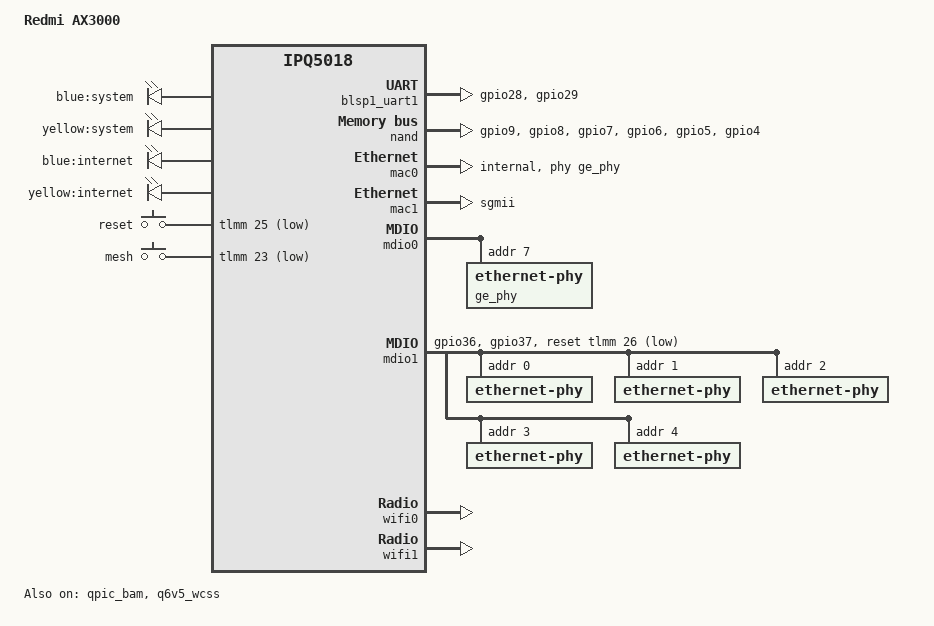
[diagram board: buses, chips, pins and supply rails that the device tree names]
// SPDX-License-Identifier: (GPL-2.0+)

/dts-v1/;

#include "ipq5018.dtsi"
#include "ipq5018-nss.dtsi"
#include "ipq5018-ess.dtsi"

#include <dt-bindings/gpio/gpio.h>
#include <dt-bindings/input/input.h>

/ {
	model = "Redmi AX3000";
	compatible = "redmi,ax3000", "qcom,ipq5018";

	#address-cells = <2>;
	#size-cells = <2>;
	interrupt-parent = <&intc>;

	aliases {
		serial0 = &blsp1_uart1;

		ethernet0 = &mac0;
		ethernet1 = &mac1;

		led-boot = &led_system_blue;
		led-failsafe = &led_system_yellow;
		led-running = &led_system_blue;
		led-upgrade = &led_system_yellow;
	};

	chosen {
		// Override the root parameter from u-boot
		// Increase coherent_pool size for WiFi
		bootargs-append = " root=/dev/ubiblock0_1 coherent_pool=2M";
		stdout-path = "serial0:115200n8";
	};

	reserved-memory {
		// Not sure why but without this, WiFi will crash
		tz_apps@4a400000 {
			no-map;
			// The size is incorrent, but it works
			reg = <0x0 0x4a400000 0x0 0x700000>;
		};

		q6_mem_regions: q6_mem_regions@4b000000 {
			no-map;
			// reg = <0x0 0x4b000000 0x0 0x3b00000>;
			reg = <0x0 0x4b000000 0x0 0x3000000>;
		};
	};

	thermal-zones {
		status = "ok";
	};
};

&tlmm {
	blsp_uart0_pins: blsp_uart0_pins {
		pins =
			"gpio28", // RX
			"gpio29"; // TX
		function = "blsp0_uart1";
		drive-strength = <8>;
		bias-disable;
	};

	qspi_nand_pins: qspi_nand_pins {
		clock {
			pins = "gpio9";
			function = "qspi_clk";
			drive-strength = <8>;
			bias-disable;
		};

		cs {
			pins = "gpio8";
			function = "qspi_cs";
			drive-strength = <8>;
			bias-disable;
		};

		data0 {
			pins = "gpio7";
			function = "qspi0";
			drive-strength = <8>;
			bias-disable;
		};

		data1 {
			pins = "gpio6";
			function = "qspi1";
			drive-strength = <8>;
			bias-disable;
		};

		data2 {
			pins = "gpio5";
			function = "qspi2";
			drive-strength = <8>;
			bias-disable;
		};

		data3 {
			pins = "gpio4";
			function = "qspi3";
			drive-strength = <8>;
			bias-disable;
		};
	};

	mdio1_pins: mdio1_pins {
		mdc {
			pins = "gpio36";
			function = "mdc";
			drive-strength = <8>;
			bias-pull-up;
		};

		mdio {
			pins = "gpio37";
			function = "mdio";
			drive-strength = <8>;
			bias-pull-up;
		};
	};

	leds_pins: leds_pins {
		led_system_blue {
			pins = "gpio19";
			function = "gpio";
			drive-strength = <8>;
			bias-pull-down;
		};

		led_system_yellow {
			pins = "gpio17";
			function = "gpio";
			drive-strength = <8>;
			bias-pull-down;
		};

		led_internet_blue {
			pins = "gpio22";
			function = "gpio";
			drive-strength = <8>;
			bias-pull-down;
		};

		led_internet_yellow {
			pins = "gpio20";
			function = "gpio";
			drive-strength = <8>;
			bias-pull-down;
		};
	};

	button_pins: button_pins {
		button_reset {
			pins = "gpio25";
			function = "gpio";
			drive-strength = <8>;
			bias-pull-up;
		};

		button_mesh {
			pins = "gpio23";
			function = "gpio";
			drive-strength = <8>;
			bias-pull-up;
		};
	};
};

&blsp1_uart1 {
	pinctrl-0 = <&blsp_uart0_pins>;
	pinctrl-names = "default";
	status = "ok";
};

&qpic_bam {
	status = "ok";
};

&nand {
	pinctrl-0 = <&qspi_nand_pins>;
	pinctrl-names = "default";
	status = "ok";
};

&soc {
	leds {
		compatible = "gpio-leds";
		pinctrl-0 = <&leds_pins>;
		pinctrl-names = "default";

		led_system_blue: led_system_blue {
			label = "blue:system";
			gpio = <&tlmm 19 GPIO_ACTIVE_HIGH>;
			default-state = "on";
		};

		led_system_yellow: led_system_yellow {
			label = "yellow:system";
			gpio = <&tlmm 17 GPIO_ACTIVE_HIGH>;
		};

		led_internet_blue: led_internet_blue {
			label = "blue:internet";
			gpio = <&tlmm 22 GPIO_ACTIVE_HIGH>;
		};

		led_internet_yellow: led_internet_yellow {
			label = "yellow:internet";
			gpio = <&tlmm 20 GPIO_ACTIVE_HIGH>;
		};
	};

	button {
		compatible = "gpio-keys";
		pinctrl-0 = <&button_pins>;
		pinctrl-names = "default";

		button_reset {
			label = "reset";
			gpios = <&tlmm 25 GPIO_ACTIVE_LOW>;
			linux,input-type = <EV_KEY>;
			linux,code = <KEY_RESTART>;
			debounce-interval = <60>;
		};

		button_mesh {
			label = "mesh";
			gpios = <&tlmm 23 GPIO_ACTIVE_LOW>;
			linux,input-type = <EV_KEY>;
			linux,code = <KEY_WPS_BUTTON>;
			debounce-interval = <60>;
		};
	};

	ess-instance {
		num_devices = <2>;

		// Dummy switch, to describe how the external ports connects to the MAC
		// For example, some chips have PSGMII ports which combine 5 MAC into
		// 1 external port.
		// For IPQ50xx, this is used to choose SGMII or SGMII-plus
		ess-switch@0x39c00000 {
			compatible = "qcom,ess-switch-ipq50xx";
			device_id = <0>;

			cmnblk_clk = "internal_96MHz";

			// MAC1 Mode
			// switch_mac_mode = <0xc>; // PORT_WRAPPER_SGMII_PLUS
			switch_mac_mode = <0xf>; // PORT_WRAPPER_SGMII_CHANNEL0

			qcom,port_phyinfo {
				// MAC0 -> GE Phy -> QCA8337 Phy4
				port@0 {
					port_id = <1>;

					mdiobus = <&mdio0>;
					phy_address = <7>;

					phy_dac = <0x10 0x10>;
				};

				// MAC1 ---SGMII---> QCA8337 SerDes
				port@1 {
					port_id = <2>;

					forced-speed = <1000>;
					forced-duplex = <1>;
				};
			};
		};

		// QCA8337
		ess-switch1@1 {
			compatible = "qcom,ess-switch-qca83xx";
			device_id = <1>;

			reset_gpio = <26>;

			switch_access_mode = "mdio";
			mdio-bus = <&mdio1>;

			qca,ar8327-initvals = <
				0x000c 0x00000080  // PAD6_MODE = MAC6_SGMII_EN
				0x0010 0x002613a0  // PWS_REG = DEFAULT_VALUE | SERDES_AEN
				0x0094 0x000010ce  // PORT6_STATUS = DEFAULT_VALUE | DUPLEX_MODE_6 | RXMAC_EN_6 |
						   //                TXMAC_EN_6 | SPEED_6(1000M)
				0x00e0 0xc74164de  // SGMII_CTRL = DEFAULT_VALUE | MODE_CTRL_25M(SGMII_PHY) | SGMII_EN_SD |
						   //              SGMII_EN_TX | SGMII_EN_RX | SGMII_EN_PLL
			>;

			switch_cpu_bmp = <0x60>;  // CPU port bitmap: 5 6
			switch_lan_bmp = <0x0e>;  // LAN port bitmap: 1 2 3
			switch_wan_bmp = <0x10>;  // WAN port bitmap: 4

			qcom,port_phyinfo {
				// MAC1 -> Phy0 -> LAN1
				port@1 {
					port_id = <1>;
					phy_address = <0>;
				};

				// MAC2 -> Phy1 -> LAN2
				port@2 {
					port_id = <2>;
					phy_address = <1>;
				};

				// MAC3 -> Phy2 -> LAN3
				port@3 {
					port_id = <3>;
					phy_address = <2>;
				};

				// MAC4 -> Phy3 -> WAN
				port@4 {
					port_id = <4>;
					phy_address = <3>;
				};

				// MAC5 -> Phy4 -> IPQ5000 GE Phy
				port@5 {
					port_id = <5>;
					phy_address = <4>;
				};

				// MAC6 ---SGMII---> IPQ5000 MAC1
				port@6 {
					port_id = <6>;

					forced-speed = <1000>;
					forced-duplex = <1>;
				};
			};
		};
	};

	// MAC0 -> GE Phy
	mac0: dp1 {
		compatible = "qcom,nss-dp";
		device_type = "network";
		qcom,id = <1>;

		reg = <0x39C00000 0x10000>;
		interrupts = <GIC_SPI 101 IRQ_TYPE_LEVEL_HIGH>;
		clocks = <&gcc GCC_SNOC_GMAC0_AXI_CLK>;
		clock-names = "nss-snoc-gmac-axi-clk";

		qcom,mactype = <2>; // GMAC_HAL_TYPE_SYN_GMAC
		local-mac-address = [000000000000];
		phy-handle = <&ge_phy>;
		phy-mode = "internal";
	};

	// MAC1 ---SGMII---> QCA8337 SerDes
	mac1: dp2 {
		compatible = "qcom,nss-dp";
		device_type = "network";
		qcom,id = <2>;

		reg = <0x39D00000 0x10000>;
		interrupts = <GIC_SPI 109 IRQ_TYPE_LEVEL_HIGH>;
		clocks = <&gcc GCC_SNOC_GMAC1_AXI_CLK>;
		clock-names = "nss-snoc-gmac-axi-clk";

		qcom,mactype = <2>; // GMAC_HAL_TYPE_SYN_GMAC
		local-mac-address = [000000000000];
		phy-mode = "sgmii";
	};
};

&mdio0 {
	status = "ok";

	resets = <&gcc GCC_GEPHY_MDC_SW_ARES>;
	reset-names = "phy";

	// IPQ5018 GE Phy -> QCA8337 Phy4
	ge_phy: ethernet-phy@0 {
		reg = <7>;
	};
};

&mdio1 {
	pinctrl-0 = <&mdio1_pins>;
	pinctrl-names = "default";
	status = "ok";

	reset-gpios = <&tlmm 26 GPIO_ACTIVE_LOW>;

	// QCA8337 Phy0 -> LAN1
	ethernet-phy@0 {
		reg = <0>;
	};

	// QCA8337 Phy1 -> LAN2
	ethernet-phy@1 {
		reg = <1>;
	};

	// QCA8337 Phy2 -> LAN3
	ethernet-phy@2 {
		reg = <2>;
	};

	// QCA8337 Phy3 -> WAN
	ethernet-phy@3 {
		reg = <3>;
	};

	// QCA8337 Phy4 -> IPQ5018 GE Phy
	ethernet-phy@4 {
		reg = <4>;
	};
};

&q6v5_wcss {
	memory-region = <&q6_mem_regions>;

	qcom,rproc = <&q6v5_wcss>;
	firmware = "IPQ5018/q6_fw.mdt";

	qcom,bootargs_smem = <507>;
	boot-args = <0x2 0x4 0x2 27 0x0 0x0>; /* reset pin: GPIO27 */

	status = "ok";

	// IPQ5018
	q6_wcss_pd1: remoteproc_pd1@4ab000 {
		compatible = "qcom,ipq5018-wcss-ahb-mpd";

		resets =
			<&gcc GCC_WCSSAON_RESET>,
			<&gcc GCC_WCSS_BCR>,
			<&gcc GCC_CE_BCR>;
		reset-names =
			"wcss_aon_reset",
			"wcss_reset",
			"ce_reset";

		clocks =
			<&gcc GCC_WCSS_AHB_S_CLK>,
			<&gcc GCC_WCSS_ACMT_CLK>,
			<&gcc GCC_WCSS_AXI_M_CLK>;
		clock-names =
			"gcc_wcss_ahb_s_clk",
					"gcc_wcss_acmt_clk",
					"gcc_wcss_axi_m_clk";

		reg = <0x4ab000 0x20>;
		reg-names = "rmb";

		// qcom,halt-regs = <&tcsr_q6_block 0xa000 0xd000 0x0>;

		interrupts-extended =
			<&wcss_smp2p_in 8 0>,
			<&wcss_smp2p_in 9 0>,
			<&wcss_smp2p_in 12 0>,
			<&wcss_smp2p_in 11 0>;
		interrupt-names =
			"fatal",
			"ready",
			"spawn-ack",
			"stop-ack";

		qcom,smem-states =
			<&wcss_smp2p_out 8>,
			<&wcss_smp2p_out 9>,
			<&wcss_smp2p_out 10>;
		qcom,smem-state-names =
			"shutdown",
			"stop",
			"spawn";

		firmware = "IPQ5018/q6_fw.mdt";
		m3_firmware = "IPQ5018/m3_fw.mdt";
	};

	// QCN6102
	q6_wcss_pd2: remoteproc_pd2 {
		compatible = "qcom,ipq5018-wcss-pcie-mpd";

		interrupts-extended =
			<&wcss_smp2p_in 16 0>,
			<&wcss_smp2p_in 17 0>,
			<&wcss_smp2p_in 20 0>,
			<&wcss_smp2p_in 19 0>;
		interrupt-names =
			"fatal",
			"ready",
			"spawn-ack",
			"stop-ack";

		qcom,smem-states =
			<&wcss_smp2p_out 16>,
			<&wcss_smp2p_out 17>,
			<&wcss_smp2p_out 18>;
		qcom,smem-state-names =
			"shutdown",
			"stop",
			"spawn";

		firmware = "IPQ5018/q6_fw.mdt";
		m3_firmware = "qcn6122/m3_fw.mdt";
	};
};

&wifi0 {
	// IPQ5000
	qcom,multipd_arch;
	qcom,rproc = <&q6_wcss_pd1>;
	qcom,userpd-subsys-name = "q6v5_wcss_userpd1";

	// Be overridden by /etc/hotplug.d/firmware/10-ath11k-board_id
	// M79: 0x10
	// M81: 0x24
	qcom,board_id = <0x24>;

	// qcom,ath11k-fw-memory-mode = <0>;
	// qcom,bdf-addr = <0x4c400000>;
	// qcom,caldb-addr = <0x4d200000>;
	// qcom,m3-dump-addr = <0x4d400000>;

	qcom,ath11k-fw-memory-mode = <2>;
	qcom,bdf-addr = <0x4c400000>;

	status = "ok";
};

&wifi1 {
	// QCN6102
	qcom,multipd_arch;
	qcom,rproc = <&q6_wcss_pd2>;
	qcom,userpd-subsys-name = "q6v5_wcss_userpd2";

	qcom,board_id = <0x60>;

	// qcom,ath11k-fw-memory-mode = <0>;
	// qcom,bdf-addr = <0x4d500000>;
	// qcom,caldb-addr = <0x4e500000>;
	// qcom,m3-dump-addr = <0x4ea00000>;

	qcom,ath11k-fw-memory-mode = <2>;
	qcom,bdf-addr = <0x4d100000>;
	qcom,m3-dump-addr = <0x4df00000>;

	status = "ok";
};
